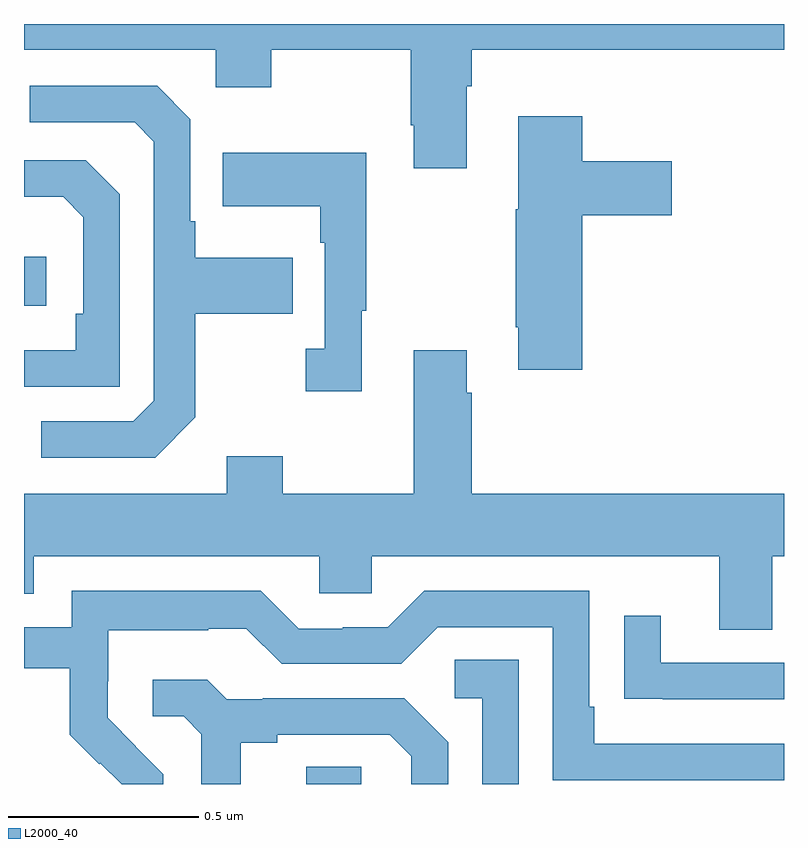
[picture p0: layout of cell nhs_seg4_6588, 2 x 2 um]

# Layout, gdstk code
import gdstk
lib = gdstk.Library(unit=1e-6, precision=1e-09)
def R(c, l, rs):  # rectangles x0, y0, x1, y1
    for r in rs: c.add(gdstk.rectangle(r[:2], r[2:], *l))
def P(c, l, *ps):  # polygons
    for p in ps: c.add(gdstk.Polygon(p, *l))
L2000_40 = (2000, 40)

nhs_seg4_6588 = lib.new_cell('nhs_seg4_6588')
R(nhs_seg4_6588, L2000_40, [(192.743,782.9,192.888,782.945), (192,784.158,192.058,784.288)])
P(nhs_seg4_6588, L2000_40, [(193.165,784.736),(193.178,784.736),(193.178,784.832),(194,784.832),(194,784.9),(192,784.9),(192,784.832),(192.504,784.832),(192.504,784.733),(192.651,784.733),(192.651,784.832),(193.018,784.832),(193.018,784.633),(193.025,784.633),(193.025,784.521),(193.165,784.521)],
  [(192.451,783.865),(192.451,784.138),(192.707,784.138),(192.707,784.285),(192.451,784.285),(192.451,784.381),(192.438,784.381),(192.438,784.65),(192.351,784.737),(192.015,784.737),(192.015,784.641),(192.291,784.641),(192.342,784.59),(192.342,783.909),(192.288,783.855),(192.045,783.855),(192.045,783.759),(192.345,783.759)],
  [(193.469,784.397),(193.705,784.397),(193.705,784.539),(193.469,784.539),(193.469,784.657),(193.301,784.657),(193.301,784.413),(193.294,784.413),(193.294,784.102),(193.301,784.102),(193.301,783.99),(193.469,783.99)],
  [(192.889,784.145),(192.901,784.145),(192.901,784.561),(192.523,784.561),(192.523,784.421),(192.78,784.421),(192.78,784.325),(192.792,784.325),(192.792,784.046),(192.741,784.046),(192.741,783.933),(192.889,783.933)],
  [(192.252,784.452),(192.162,784.542),(192,784.542),(192,784.445),(192.103,784.445),(192.156,784.392),(192.156,784.138),(192.136,784.138),(192.136,784.041),(192,784.041),(192,783.945),(192.252,783.945)],
  [(193.969,783.5),(194,783.5),(194,783.664),(193.178,783.664),(193.178,783.929),(193.165,783.929),(193.165,784.042),(193.025,784.042),(193.025,783.664),(192.681,783.664),(192.681,783.763),(192.533,783.763),(192.533,783.664),(192,783.664),(192,783.401),(192.025,783.401),(192.025,783.5),(192.777,783.5),(192.777,783.402),(192.915,783.402),(192.915,783.5),(193.829,783.5),(193.829,783.306),(193.969,783.306)],
  [(192.366,782.926),(192.293,782.999),(192.294,783),(192.22,783.074),(192.22,783.171),(192.222,783.171),(192.222,783.305),(192.485,783.305),(192.485,783.309),(192.585,783.309),(192.678,783.216),(192.993,783.216),(193.089,783.312),(193.392,783.312),(193.392,782.91),(194,782.91),(194,783.006),(193.501,783.006),(193.501,783.103),(193.488,783.103),(193.488,783.408),(193.053,783.408),(192.957,783.312),(192.839,783.312),(192.839,783.309),(192.723,783.309),(192.623,783.409),(192.126,783.409),(192.126,783.312),(192,783.312),(192,783.204),(192.121,783.204),(192.121,783.029),(192.198,782.952),(192.201,782.955),(192.257,782.9),(192.366,782.9)],
  [(194,783.219),(193.675,783.219),(193.675,783.343),(193.579,783.343),(193.579,783.124),(193.681,783.124),(193.681,783.123),(194,783.123)],
  [(193.302,783.227),(193.134,783.227),(193.134,783.126),(193.206,783.126),(193.206,782.9),(193.302,782.9)],
  [(192.571,783.008),(192.667,783.008),(192.667,783.03),(192.962,783.03),(193.019,782.973),(193.019,782.9),(193.116,782.9),(193.116,783.01),(193,783.126),(192.628,783.126),(192.628,783.123),(192.534,783.123),(192.482,783.175),(192.339,783.175),(192.339,783.078),(192.42,783.078),(192.467,783.031),(192.467,782.9),(192.571,782.9)])

lib.write_gds('nhs_seg4_6588.gds')
